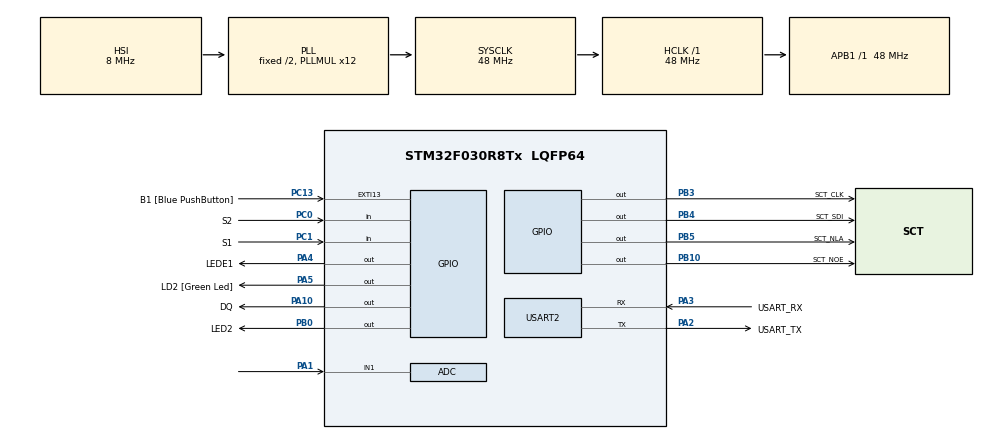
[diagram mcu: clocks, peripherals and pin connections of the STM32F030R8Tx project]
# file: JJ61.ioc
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ADC.ContinuousConvMode=ENABLE
ADC.Overrun=ADC_OVR_DATA_OVERWRITTEN
ADC.Resolution=ADC_RESOLUTION_10B
Mcu.Family=STM32F0
Mcu.Name=STM32F030R8Tx
Mcu.Package=LQFP64
PA1.Mode=IN1
PA1.Signal=ADC_IN1
PA10.GPIO_Label=DQ
PA10.GPIO_ModeDefaultOutputPP=GPIO_MODE_OUTPUT_OD
PA10.GPIO_PuPd=GPIO_NOPULL
PA10.PinState=GPIO_PIN_SET
PA10.Signal=GPIO_Output
PA13.GPIO_Label=TMS
PA13.Mode=Serial_Wire
PA13.Signal=SYS_SWDIO
PA14.GPIO_Label=TCK
PA14.Mode=Serial_Wire
PA14.Signal=SYS_SWCLK
PA2.GPIO_Label=USART_TX
PA2.GPIO_Mode=GPIO_MODE_AF_PP
PA2.GPIO_PuPd=GPIO_NOPULL
PA2.GPIO_Speed=GPIO_SPEED_FREQ_LOW
PA2.Mode=Asynchronous
PA2.Signal=USART2_TX
PA3.GPIO_Label=USART_RX
PA3.GPIO_Mode=GPIO_MODE_AF_PP
PA3.GPIO_PuPd=GPIO_NOPULL
PA3.GPIO_Speed=GPIO_SPEED_FREQ_LOW
PA3.Mode=Asynchronous
PA3.Signal=USART2_RX
PA4.GPIO_Label=LEDE1
PA4.Signal=GPIO_Output
PA5.GPIO_Label=LD2 [Green Led]
PA5.GPIO_Mode=GPIO_MODE_OUTPUT_PP
PA5.GPIO_PuPd=GPIO_NOPULL
PA5.GPIO_Speed=GPIO_SPEED_FREQ_LOW
PA5.Signal=GPIO_Output
PB0.GPIO_Label=LED2
PB0.Signal=GPIO_Output
PB10.GPIO_Label=SCT_NOE
PB10.Signal=GPIO_Output
PB3.GPIO_Label=SCT_CLK
PB3.Signal=GPIO_Output
PB4.GPIO_Label=SCT_SDI
PB4.Signal=GPIO_Output
PB5.GPIO_Label=SCT_NLA
PB5.Signal=GPIO_Output
PC0.GPIO_Label=S2
PC0.GPIO_PuPd=GPIO_PULLUP
PC0.Signal=GPIO_Input
PC1.GPIO_Label=S1
PC1.GPIO_PuPd=GPIO_PULLUP
PC1.Signal=GPIO_Input
PC13.GPIO_Label=B1 [Blue PushButton]
PC13.GPIO_ModeDefaultEXTI=GPIO_MODE_IT_FALLING
PC13.Signal=GPXTI13
PC14-OSC32_IN.Mode=LSE-External-Oscillator
PC14-OSC32_IN.Signal=RCC_OSC32_IN
PC15-OSC32_OUT.Mode=LSE-External-Oscillator
PC15-OSC32_OUT.Signal=RCC_OSC32_OUT
PF0-OSC_IN.Mode=HSE-External-Clock-Source
PF0-OSC_IN.Signal=RCC_OSC_IN
PF1-OSC_OUT.Signal=RCC_OSC_OUT
ProjectManager.HeapSize=0x200
ProjectManager.StackSize=0x400
ProjectManager.TargetToolchain=STM32CubeIDE
RCC.AHBFreq_Value=48000000
RCC.APB1Freq_Value=48000000
RCC.APB1TimFreq_Value=48000000
RCC.HCLKFreq_Value=48000000
RCC.PLLMUL=RCC_PLL_MUL12
RCC.SYSCLKFreq_VALUE=48000000
RCC.SYSCLKSource=RCC_SYSCLKSOURCE_PLLCLK
USART2.VirtualMode-Asynchronous=VM_ASYNC
board=NUCLEO-F030R8

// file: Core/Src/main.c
/* USER CODE BEGIN Header */
/**
 ******************************************************************************
 * @file           : main.c
 * @brief          : Main program body
 ******************************************************************************
 * @attention
 *
 * Copyright (c) 2024 STMicroelectronics.
 * All rights reserved.
 *
 * This software is licensed under terms that can be found in the LICENSE file
 * in the root directory of this software component.
 * If no LICENSE file comes with this software, it is provided AS-IS.
 *
 ******************************************************************************
 */
/* USER CODE END Header */
#include "main.h"

/* USER CODE BEGIN Includes */
#include "1wire.h"
#include "sct.h"
/* USER CODE END Includes */

/* USER CODE BEGIN PD */
#define CONVERT_T_DELAY (750)

#define DS18B20_STATE 0
#define NTC_STATE 1

uint8_t displayState = DS18B20_STATE;  // Po spuštění zobrazujeme DS18B20 data
int16_t temp_18b20;  // Proměnná pro teplotu DS18B20
uint32_t temp_ntc;    // Proměnná pro teplotu z NTC

/* USER CODE END PD */

ADC_HandleTypeDef hadc;

UART_HandleTypeDef huart2;

/* USER CODE BEGIN PV */
static const int16_t data[] = {
#include "data.dlm"
};
/* USER CODE END PV */

void SystemClock_Config(void);
static void MX_GPIO_Init(void);
static void MX_USART2_UART_Init(void);
static void MX_ADC_Init(void);

int main(void)
{

	/* MCU Configuration--------------------------------------------------------*/

	/* Reset of all peripherals, Initializes the Flash interface and the Systick. */
	HAL_Init();

	/* Configure the system clock */
	SystemClock_Config();

	/* Initialize all configured peripherals */
	MX_GPIO_Init();
	MX_USART2_UART_Init();
	MX_ADC_Init();
	/* USER CODE BEGIN 2 */
	sct_init();
	OWInit();

	HAL_ADCEx_Calibration_Start(&hadc);
	HAL_ADC_Start(&hadc);

	/* USER CODE END 2 */

	/* Infinite loop */
	/* USER CODE BEGIN WHILE */
	uint32_t tick = HAL_GetTick();
	uint32_t oldtick=0;
	uint8_t convert=0;
	while (1)
	{

		/* OWConvertAll();
	  HAL_Delay(CONVERT_T_DELAY);

	  int16_t result;
	  uint8_t status = OWReadTemperature(&result);

	  if (status !=0){
		  sct_value(result / 10, 0);*/

		/* USER CODE END WHILE */

		/* USER CODE BEGIN 3 */

		// Čteme teplotu z DS18B20, pokud jsme v DS18B20 stavu
		/*if (HAL_GPIO_ReadPin(S1_GPIO_Port, S1_Pin) == GPIO_PIN_RESET){
			displayState = DS18B20_STATE;

		}
		else if (HAL_GPIO_ReadPin(S2_GPIO_Port, S2_Pin) == GPIO_PIN_RESET){
			displayState == NTC_STATE;

		}*/

		if (displayState == DS18B20_STATE) {
			if (convert==0){
				OWConvertAll();
				convert=1;
			}
			if(tick>=oldtick+CONVERT_T_DELAY){
				convert=0;
				oldtick=tick;
				if (OWReadTemperature(&temp_18b20)) {  // Pokud je čtení úspěšné
					sct_value(temp_18b20 / 10, 0);  // Zobrazení teploty v desetinách stupně
					HAL_GPIO_WritePin(LEDE1_GPIO_Port, LEDE1_Pin, GPIO_PIN_RESET);  // LED1 zhasnuto
					HAL_GPIO_WritePin(LED2_GPIO_Port, LED2_Pin, GPIO_PIN_SET);    // LED2 rozsvíceno
				}
			}
		}
		// Čteme teplotu z NTC, pokud jsme v NTC stavu
		else if ((displayState == NTC_STATE)&&(tick>=oldtick+CONVERT_T_DELAY)) {
			oldtick=tick;
			temp_ntc = HAL_ADC_GetValue(&hadc);  // Vlastní funkce pro získání hodnoty z NTC
			sct_value(data[temp_ntc], 0);  // Zobrazení teploty z NTC senzoru
			HAL_GPIO_WritePin(LED2_GPIO_Port, LED2_Pin, GPIO_PIN_RESET);  // LED2 zhasnuto
			HAL_GPIO_WritePin(LEDE1_GPIO_Port, LEDE1_Pin, GPIO_PIN_SET);    // LED1 rozsvíceno
		}

		// Kontrola tlačítek S1 a S2 pro přepnutí mezi senzory
	    if (HAL_GPIO_ReadPin(GPIOC, GPIO_PIN_1) == GPIO_PIN_RESET) {  // S1 stisknuto
	        displayState = DS18B20_STATE;
	    } else if (HAL_GPIO_ReadPin(GPIOC, GPIO_PIN_0) == GPIO_PIN_RESET) {  // S2 stisknuto
	        displayState = NTC_STATE;
	    }
		tick=HAL_GetTick();

	}
	/* USER CODE END 3 */
}

void SystemClock_Config(void)
{
	RCC_OscInitTypeDef RCC_OscInitStruct = {0};
	RCC_ClkInitTypeDef RCC_ClkInitStruct = {0};

	/** Initializes the RCC Oscillators according to the specified parameters
	 * in the RCC_OscInitTypeDef structure.
	 */
	RCC_OscInitStruct.OscillatorType = RCC_OSCILLATORTYPE_HSI|RCC_OSCILLATORTYPE_HSI14;
	RCC_OscInitStruct.HSIState = RCC_HSI_ON;
	RCC_OscInitStruct.HSI14State = RCC_HSI14_ON;
	RCC_OscInitStruct.HSICalibrationValue = RCC_HSICALIBRATION_DEFAULT;
	RCC_OscInitStruct.HSI14CalibrationValue = 16;
	RCC_OscInitStruct.PLL.PLLState = RCC_PLL_ON;
	RCC_OscInitStruct.PLL.PLLSource = RCC_PLLSOURCE_HSI;
	RCC_OscInitStruct.PLL.PLLMUL = RCC_PLL_MUL12;
	RCC_OscInitStruct.PLL.PREDIV = RCC_PREDIV_DIV1;
	if (HAL_RCC_OscConfig(&RCC_OscInitStruct) != HAL_OK)
	{
		Error_Handler();
	}

	/** Initializes the CPU, AHB and APB buses clocks
	 */
	RCC_ClkInitStruct.ClockType = RCC_CLOCKTYPE_HCLK|RCC_CLOCKTYPE_SYSCLK
			|RCC_CLOCKTYPE_PCLK1;
	RCC_ClkInitStruct.SYSCLKSource = RCC_SYSCLKSOURCE_PLLCLK;
	RCC_ClkInitStruct.AHBCLKDivider = RCC_SYSCLK_DIV1;
	RCC_ClkInitStruct.APB1CLKDivider = RCC_HCLK_DIV1;

	if (HAL_RCC_ClockConfig(&RCC_ClkInitStruct, FLASH_LATENCY_1) != HAL_OK)
	{
		Error_Handler();
	}
}

static void MX_ADC_Init(void)
{

	ADC_ChannelConfTypeDef sConfig = {0};

	/** Configure the global features of the ADC (Clock, Resolution, Data Alignment and number of conversion)
	 */
	hadc.Instance = ADC1;
	hadc.Init.ClockPrescaler = ADC_CLOCK_ASYNC_DIV1;
	hadc.Init.Resolution = ADC_RESOLUTION_10B;
	hadc.Init.DataAlign = ADC_DATAALIGN_RIGHT;
	hadc.Init.ScanConvMode = ADC_SCAN_DIRECTION_FORWARD;
	hadc.Init.EOCSelection = ADC_EOC_SINGLE_CONV;
	hadc.Init.LowPowerAutoWait = DISABLE;
	hadc.Init.LowPowerAutoPowerOff = DISABLE;
	hadc.Init.ContinuousConvMode = ENABLE;
	hadc.Init.DiscontinuousConvMode = DISABLE;
	hadc.Init.ExternalTrigConv = ADC_SOFTWARE_START;
	hadc.Init.ExternalTrigConvEdge = ADC_EXTERNALTRIGCONVEDGE_NONE;
	hadc.Init.DMAContinuousRequests = DISABLE;
	hadc.Init.Overrun = ADC_OVR_DATA_OVERWRITTEN;
	if (HAL_ADC_Init(&hadc) != HAL_OK)
	{
		Error_Handler();
	}

	/** Configure for the selected ADC regular channel to be converted.
	 */
	sConfig.Channel = ADC_CHANNEL_1;
	sConfig.Rank = ADC_RANK_CHANNEL_NUMBER;
	sConfig.SamplingTime = ADC_SAMPLETIME_1CYCLE_5;
	if (HAL_ADC_ConfigChannel(&hadc, &sConfig) != HAL_OK)
	{
		Error_Handler();
	}

}

static void MX_USART2_UART_Init(void)
{

	huart2.Instance = USART2;
	huart2.Init.BaudRate = 38400;
	huart2.Init.WordLength = UART_WORDLENGTH_8B;
	huart2.Init.StopBits = UART_STOPBITS_1;
	huart2.Init.Parity = UART_PARITY_NONE;
	huart2.Init.Mode = UART_MODE_TX_RX;
	huart2.Init.HwFlowCtl = UART_HWCONTROL_NONE;
	huart2.Init.OverSampling = UART_OVERSAMPLING_16;
	huart2.Init.OneBitSampling = UART_ONE_BIT_SAMPLE_DISABLE;
	huart2.AdvancedInit.AdvFeatureInit = UART_ADVFEATURE_NO_INIT;
	if (HAL_UART_Init(&huart2) != HAL_OK)
	{
		Error_Handler();
	}

}

static void MX_GPIO_Init(void)
{
	GPIO_InitTypeDef GPIO_InitStruct = {0};

	/* GPIO Ports Clock Enable */
	__HAL_RCC_GPIOC_CLK_ENABLE();
	__HAL_RCC_GPIOF_CLK_ENABLE();
	__HAL_RCC_GPIOA_CLK_ENABLE();
	__HAL_RCC_GPIOB_CLK_ENABLE();

	/*Configure GPIO pin Output Level */
	HAL_GPIO_WritePin(GPIOA, LEDE1_Pin|LD2_Pin, GPIO_PIN_RESET);

	/*Configure GPIO pin Output Level */
	HAL_GPIO_WritePin(GPIOB, LED2_Pin|SCT_NOE_Pin|SCT_CLK_Pin|SCT_SDI_Pin
			|SCT_NLA_Pin, GPIO_PIN_RESET);

	/*Configure GPIO pin Output Level */
	HAL_GPIO_WritePin(DQ_GPIO_Port, DQ_Pin, GPIO_PIN_SET);

	/*Configure GPIO pin : B1_Pin */
	GPIO_InitStruct.Pin = B1_Pin;
	GPIO_InitStruct.Mode = GPIO_MODE_IT_FALLING;
	GPIO_InitStruct.Pull = GPIO_NOPULL;
	HAL_GPIO_Init(B1_GPIO_Port, &GPIO_InitStruct);

	/*Configure GPIO pins : S2_Pin S1_Pin */
	GPIO_InitStruct.Pin = S2_Pin|S1_Pin;
	GPIO_InitStruct.Mode = GPIO_MODE_INPUT;
	GPIO_InitStruct.Pull = GPIO_PULLUP;
	HAL_GPIO_Init(GPIOC, &GPIO_InitStruct);

	/*Configure GPIO pins : LEDE1_Pin LD2_Pin */
	GPIO_InitStruct.Pin = LEDE1_Pin|LD2_Pin;
	GPIO_InitStruct.Mode = GPIO_MODE_OUTPUT_PP;
	GPIO_InitStruct.Pull = GPIO_NOPULL;
	GPIO_InitStruct.Speed = GPIO_SPEED_FREQ_LOW;
	HAL_GPIO_Init(GPIOA, &GPIO_InitStruct);

	/*Configure GPIO pins : LED2_Pin SCT_NOE_Pin SCT_CLK_Pin SCT_SDI_Pin
                           SCT_NLA_Pin */
	GPIO_InitStruct.Pin = LED2_Pin|SCT_NOE_Pin|SCT_CLK_Pin|SCT_SDI_Pin
			|SCT_NLA_Pin;
	GPIO_InitStruct.Mode = GPIO_MODE_OUTPUT_PP;
	GPIO_InitStruct.Pull = GPIO_NOPULL;
	GPIO_InitStruct.Speed = GPIO_SPEED_FREQ_LOW;
	HAL_GPIO_Init(GPIOB, &GPIO_InitStruct);

	/*Configure GPIO pin : DQ_Pin */
	GPIO_InitStruct.Pin = DQ_Pin;
	GPIO_InitStruct.Mode = GPIO_MODE_OUTPUT_OD;
	GPIO_InitStruct.Pull = GPIO_NOPULL;
	GPIO_InitStruct.Speed = GPIO_SPEED_FREQ_LOW;
	HAL_GPIO_Init(DQ_GPIO_Port, &GPIO_InitStruct);

}

void Error_Handler(void)
{
	__disable_irq();
	while (1)
	{
	}
}
